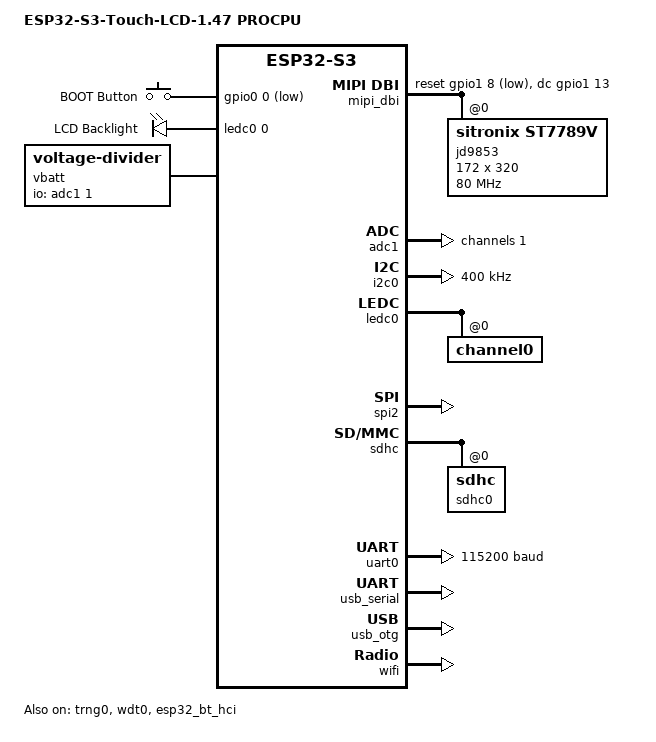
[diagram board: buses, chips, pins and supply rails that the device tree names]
/*
 * SPDX-FileCopyrightText: Copyright The Zephyr Project Contributors
 * SPDX-License-Identifier: Apache-2.0
 */

/dts-v1/;

#include <espressif/esp32s3/esp32s3.dtsi>
#include <zephyr/dt-bindings/adc/adc.h>
#include <zephyr/dt-bindings/battery/battery.h>
#include <zephyr/dt-bindings/display/panel.h>
#include <zephyr/dt-bindings/input/input-event-codes.h>
#include <zephyr/dt-bindings/pwm/pwm.h>
#include <espressif/partitions_0x0_amp_16M.dtsi>
#include "esp32s3_touch_lcd_1_47-pinctrl.dtsi"

/ {
	model = "ESP32-S3-Touch-LCD-1.47 PROCPU";
	compatible = "waveshare,esp32-s3-touch-lcd-1.47";

	aliases {
		fuel-gauge0 = &fuel_gauge;
		i2c-0 = &i2c0;
		pwm-0 = &ledc0;
		pwm-lcd0 = &pwm_lcd0;
		sdhc0 = &sdhc0;
		sw0 = &button0;
		uart-0 = &uart0;
		watchdog0 = &wdt0;
	};

	chosen {
		zephyr,sram = &sram1;
		zephyr,console = &usb_serial;
		zephyr,shell-uart = &usb_serial;
		zephyr,flash = &flash0;
		zephyr,code-partition = &slot0_partition;
		zephyr,display = &jd9853;
		zephyr,bt-hci = &esp32_bt_hci;
	};

	buttons {
		compatible = "gpio-keys";

		button0: button_0 {
			gpios = <&gpio0 0 (GPIO_PULL_UP | GPIO_ACTIVE_LOW)>;
			label = "BOOT Button";
			zephyr,code = <INPUT_KEY_0>;
		};
	};

	pwmleds {
		compatible = "pwm-leds";

		pwm_lcd0: pwm_lcd0 {
			pwms = <&ledc0 0 PWM_KHZ(5) PWM_POLARITY_NORMAL>;
			label = "LCD Backlight";
		};
	};

	vbatt: vbatt {
		compatible = "voltage-divider";
		io-channels = <&adc1 1>;
		output-ohms = <100000>;
		full-ohms = <(200000 + 100000)>;
		skip-calibration; /* ESP32 ADC does not support calibration */
	};

	/*
	 * This composite fuel gauge describes a single-cell Li-Po battery connected to the
	 * battery header. Enable the node to enable battery state-of-charge estimation based
	 * on the battery voltage (adapt the capacity value to the battery in use).
	 */
	fuel_gauge: fuel_gauge {
		status = "disabled";
		compatible = "zephyr,fuel-gauge-composite";
		source-primary = <&vbatt>;
		device-chemistry = "lithium-ion-polymer";
		ocv-capacity-table-0 = <BATTERY_OCV_CURVE_LITHIUM_ION_POLYMER_DEFAULT>;
		charge-full-design-microamp-hours = <500000>;
	};

	mipi_dbi {
		compatible = "zephyr,mipi-dbi-spi";
		spi-dev = <&spi2>;
		dc-gpios = <&gpio1 13 GPIO_ACTIVE_HIGH>;	/* GPIO45 */
		reset-gpios = <&gpio1 8 GPIO_ACTIVE_LOW>;	/* GPIO40 */
		write-only;
		#address-cells = <1>;
		#size-cells = <0>;

		/* JD9853 controller, driven through its ST7789V compatible command set */
		jd9853: st7789v@0 {
			status = "okay";
			compatible = "sitronix,st7789v";
			reg = <0>;
			mipi-max-frequency = <80000000>;
			mipi-mode = "MIPI_DBI_MODE_SPI_4WIRE";
			width = <172>;
			height = <320>;
			x-offset = <34>;
			y-offset = <0>;
			mdac = <0x48>;	/* MX, BGR */
			pixel-format = <PANEL_PIXEL_FORMAT_RGB_565>;
			inversion-off;
		};
	};
};

&flash0 {
	reg = <0x0 DT_SIZE_M(16)>;
	ranges = <0x0 0x0 DT_SIZE_M(16)>;
};

&psram0 {
	size = <DT_SIZE_M(8)>;
};

&gpio0 {
	status = "okay";
};

&gpio1 {
	status = "okay";
};

&adc1 {
	status = "okay";
	#address-cells = <1>;
	#size-cells = <0>;

	/* GPIO12, battery voltage through a 200K/100K divider */
	channel@1 {
		reg = <1>;
		zephyr,gain = "ADC_GAIN_1_4";
		zephyr,reference = "ADC_REF_INTERNAL";
		zephyr,acquisition-time = <ADC_ACQ_TIME_DEFAULT>;
		zephyr,resolution = <12>;
	};
};

/* Shared by the AXS5106L touch controller and the SCL/SDA header pins */
&i2c0 {
	status = "okay";
	clock-frequency = <I2C_BITRATE_FAST>;
	pinctrl-0 = <&i2c0_default>;
	pinctrl-names = "default";
};

&ledc0 {
	status = "okay";
	pinctrl-0 = <&ledc0_default>;
	pinctrl-names = "default";
	#address-cells = <1>;
	#size-cells = <0>;

	channel0@0 {
		reg = <0x0>;
		timer = <0>;
	};
};

&spi2 {
	status = "okay";
	#address-cells = <1>;
	#size-cells = <0>;
	pinctrl-0 = <&spim2_default>;
	pinctrl-names = "default";
	cs-gpios = <&gpio0 21 GPIO_ACTIVE_LOW>;
};

&sdhc {
	sdhc0: sdhc@0 {
		status = "okay";
		pinctrl-0 = <&sdhc0_default>;
		pinctrl-names = "default";
		max-bus-freq = <40000000>;
		bus-width = <4>;

		mmc {
			compatible = "zephyr,sdmmc-disk";
			disk-name = "SD";
			status = "okay";
		};
	};
};

&uart0 {
	status = "okay";
	current-speed = <115200>;
	pinctrl-0 = <&uart0_default>;
	pinctrl-names = "default";
};

&usb_serial {
	status = "okay";
};

zephyr_udc0: &usb_otg {
	status = "okay";
};

&trng0 {
	status = "okay";
};

&wdt0 {
	status = "okay";
};

&esp32_bt_hci {
	status = "okay";
};

&wifi {
	status = "okay";
};
